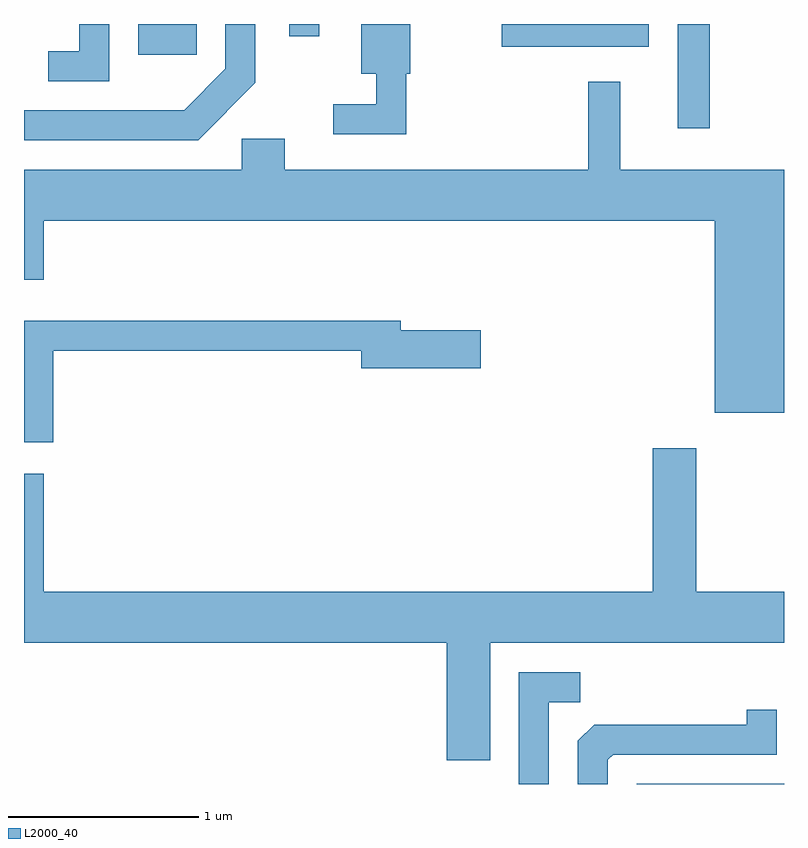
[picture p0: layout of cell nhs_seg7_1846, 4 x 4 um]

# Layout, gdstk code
import gdstk
lib = gdstk.Library(unit=1e-6, precision=1e-09)
def R(c, l, rs):  # rectangles x0, y0, x1, y1
    for r in rs: c.add(gdstk.rectangle(r[:2], r[2:], *l))
def P(c, l, *ps):  # polygons
    for p in ps: c.add(gdstk.Polygon(p, *l))
L2000_40 = (2000, 40)

nhs_seg7_1846 = lib.new_cell('nhs_seg7_1846')
R(nhs_seg7_1846, L2000_40, [(244.836,1700.252,245.611,1700.254), (245.051,1703.703,245.219,1704.252), (242.211,1704.091,242.519,1704.252), (244.126,1704.131,244.899,1704.252), (243.006,1704.188,243.164,1704.252)])
P(nhs_seg7_1846, L2000_40, [(243.624,1703.991),(243.644,1703.991),(243.644,1704.252),(243.386,1704.252),(243.386,1703.991),(243.466,1703.991),(243.466,1703.829),(243.238,1703.829),(243.238,1703.671),(243.624,1703.671)],
  [(242.059,1704.252),(241.901,1704.252),(241.901,1704.109),(241.738,1704.109),(241.738,1703.951),(242.059,1703.951)],
  [(242.829,1703.944),(242.829,1704.252),(242.671,1704.252),(242.671,1704.017),(242.454,1703.799),(241.611,1703.799),(241.611,1703.641),(242.527,1703.641)],
  [(245.611,1703.484),(244.749,1703.484),(244.749,1703.948),(244.581,1703.948),(244.581,1703.484),(242.984,1703.484),(242.984,1703.649),(242.756,1703.649),(242.756,1703.484),(241.611,1703.484),(241.611,1702.906),(241.714,1702.906),(241.714,1703.216),(245.246,1703.216),(245.246,1702.206),(245.611,1702.206)],
  [(241.764,1702.531),(243.386,1702.531),(243.386,1702.441),(244.014,1702.441),(244.014,1702.639),(243.594,1702.639),(243.594,1702.689),(241.611,1702.689),(241.611,1702.051),(241.764,1702.051)],
  [(244.064,1700.996),(245.611,1700.996),(245.611,1701.264),(245.149,1701.264),(245.149,1702.019),(244.921,1702.019),(244.921,1701.264),(241.714,1701.264),(241.714,1701.884),(241.611,1701.884),(241.611,1700.996),(243.836,1700.996),(243.836,1700.376),(244.064,1700.376)],
  [(244.374,1700.681),(244.538,1700.681),(244.538,1700.839),(244.216,1700.839),(244.216,1700.252),(244.374,1700.252)],
  [(244.684,1700.379),(244.712,1700.406),(245.574,1700.406),(245.574,1700.643),(245.416,1700.643),(245.416,1700.564),(244.612,1700.564),(244.526,1700.479),(244.526,1700.252),(244.684,1700.252)])

lib.write_gds('nhs_seg7_1846.gds')
